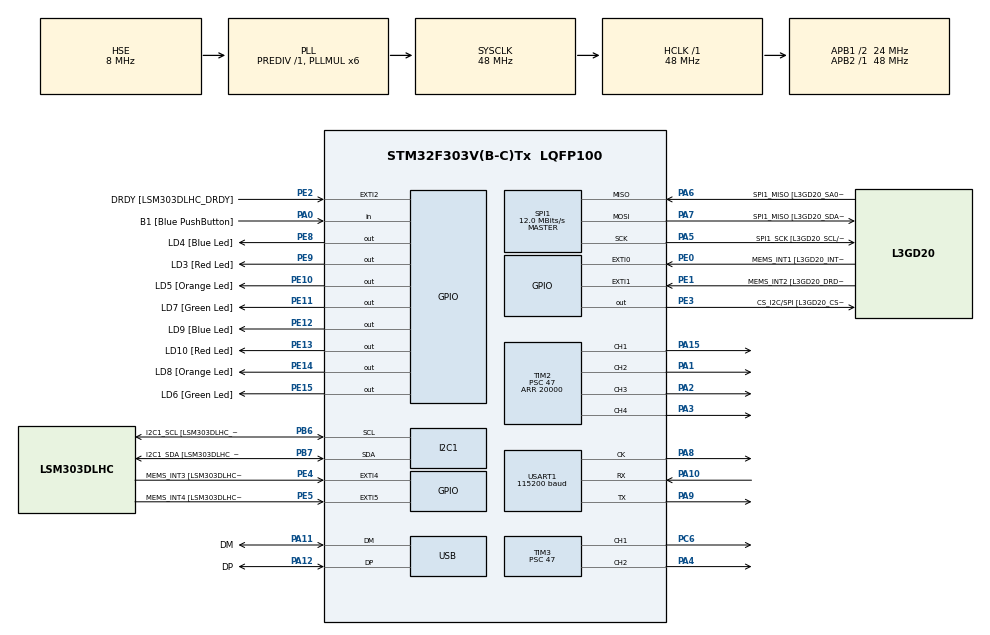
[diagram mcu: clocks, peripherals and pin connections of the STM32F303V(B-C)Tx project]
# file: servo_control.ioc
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I2C1.Timing=0x2000090E
I2C1.Timing-I2C=0x2000090E
Mcu.Family=STM32F3
Mcu.Name=STM32F303V(B-C)Tx
Mcu.Package=LQFP100
NVIC.PriorityGroup=NVIC_PRIORITYGROUP_0
NVIC.USART1_IRQn=true\:0\:0\:false\:false\:true\:true\:true\:true
PA0.GPIO_Label=B1 [Blue PushButton]
PA0.Signal=GPIO_Input
PA1.Signal=S_TIM2_CH2
PA10.Mode=Synchronous
PA10.Signal=USART1_RX
PA11.GPIO_Label=DM
PA11.Mode=Device
PA11.Signal=USB_DM
PA12.GPIO_Label=DP
PA12.Mode=Device
PA12.Signal=USB_DP
PA13.GPIO_Label=SWDIO
PA13.Mode=Serial_Wire
PA13.Signal=SYS_JTMS-SWDIO
PA14.GPIO_Label=SWCLK
PA14.Mode=Serial_Wire
PA14.Signal=SYS_JTCK-SWCLK
PA15.Signal=S_TIM2_CH1_ETR
PA2.Signal=S_TIM2_CH3
PA3.Signal=S_TIM2_CH4
PA4.Signal=S_TIM3_CH2
PA5.GPIO_Label=SPI1_SCK [L3GD20_SCL/SPC]
PA5.Mode=Full_Duplex_Master
PA5.Signal=SPI1_SCK
PA6.GPIO_Label=SPI1_MISO [L3GD20_SA0/SDO]
PA6.Mode=Full_Duplex_Master
PA6.Signal=SPI1_MISO
PA7.GPIO_Label=SPI1_MISO [L3GD20_SDA/SDI/SDO]
PA7.Mode=Full_Duplex_Master
PA7.Signal=SPI1_MOSI
PA8.Mode=Synchronous
PA8.Signal=USART1_CK
PA9.Mode=Synchronous
PA9.Signal=USART1_TX
PB3.GPIO_Label=SWO
PB3.Signal=SYS_JTDO-TRACESWO
PB6.GPIO_Label=I2C1_SCL [LSM303DLHC_SCL]
PB6.GPIO_Pu=GPIO_PULLUP
PB6.Mode=I2C
PB6.Signal=I2C1_SCL
PB7.GPIO_Label=I2C1_SDA [LSM303DLHC_SDA]
PB7.GPIO_Pu=GPIO_PULLUP
PB7.Mode=I2C
PB7.Signal=I2C1_SDA
PC14-OSC32_IN.GPIO_Label=OSC32_IN
PC14-OSC32_IN.Signal=RCC_OSC32_IN
PC15-OSC32_OUT.GPIO_Label=OSC32_OUT
PC15-OSC32_OUT.Signal=RCC_OSC32_OUT
PC6.Signal=S_TIM3_CH1
PE0.GPIO_Label=MEMS_INT1 [L3GD20_INT1]
PE0.GPIO_ModeDefaultEXTI=GPIO_MODE_EVT_RISING
PE0.Signal=GPXTI0
PE1.GPIO_Label=MEMS_INT2 [L3GD20_DRDY/INT2]
PE1.GPIO_ModeDefaultEXTI=GPIO_MODE_EVT_RISING
PE1.Signal=GPXTI1
PE10.GPIO_Label=LD5 [Orange Led]
PE10.Signal=GPIO_Output
PE11.GPIO_Label=LD7 [Green Led]
PE11.Signal=GPIO_Output
PE12.GPIO_Label=LD9 [Blue Led]
PE12.Signal=GPIO_Output
PE13.GPIO_Label=LD10 [Red Led]
PE13.Signal=GPIO_Output
PE14.GPIO_Label=LD8 [Orange Led]
PE14.Signal=GPIO_Output
PE15.GPIO_Label=LD6 [Green Led]
PE15.Signal=GPIO_Output
PE2.GPIO_Label=DRDY [LSM303DLHC_DRDY]
PE2.GPIO_ModeDefaultEXTI=GPIO_MODE_EVT_RISING
PE2.Signal=GPXTI2
PE3.GPIO_Label=CS_I2C/SPI [L3GD20_CS_I2C/SPI]
PE3.Signal=GPIO_Output
PE4.GPIO_Label=MEMS_INT3 [LSM303DLHC_INT1]
PE4.GPIO_ModeDefaultEXTI=GPIO_MODE_EVT_RISING
PE4.Signal=GPXTI4
PE5.GPIO_Label=MEMS_INT4 [LSM303DLHC_INT2]
PE5.GPIO_ModeDefaultEXTI=GPIO_MODE_EVT_RISING
PE5.Signal=GPXTI5
PE8.GPIO_Label=LD4 [Blue Led]
PE8.Signal=GPIO_Output
PE9.GPIO_Label=LD3 [Red Led]
PE9.Signal=GPIO_Output
PF0-OSC_IN.GPIO_Label=OSC_IN
PF0-OSC_IN.Mode=HSE-External-Clock-Source
PF0-OSC_IN.Signal=RCC_OSC_IN
PF1-OSC_OUT.GPIO_Label=OSC_OUT
PF1-OSC_OUT.Signal=RCC_OSC_OUT
ProjectManager.HeapSize=0x200
ProjectManager.StackSize=0x400
ProjectManager.TargetToolchain=STM32CubeIDE
RCC.AHBFreq_Value=48000000
RCC.APB1CLKDivider=RCC_HCLK_DIV2
RCC.APB1Freq_Value=24000000
RCC.APB1TimFreq_Value=48000000
RCC.APB2Freq_Value=48000000
RCC.APB2TimFreq_Value=48000000
RCC.CortexFreq_Value=48000000
RCC.HCLKFreq_Value=48000000
RCC.HSE_VALUE=8000000
RCC.HSI_VALUE=8000000
RCC.LSE_VALUE=32768
RCC.PLLMUL=RCC_PLL_MUL6
RCC.SYSCLKFreq_VALUE=48000000
RCC.SYSCLKSourceVirtual=RCC_SYSCLKSOURCE_PLLCLK
RCC.USBFreq_Value=48000000
SH.S_TIM2_CH1_ETR.0=TIM2_CH1,PWM Generation1 CH1
SH.S_TIM2_CH2.0=TIM2_CH2,PWM Generation2 CH2
SH.S_TIM2_CH3.0=TIM2_CH3,PWM Generation3 CH3
SH.S_TIM2_CH4.0=TIM2_CH4,PWM Generation4 CH4
SH.S_TIM3_CH1.0=TIM3_CH1,PWM Generation1 CH1
SH.S_TIM3_CH2.0=TIM3_CH2,PWM Generation2 CH2
SPI1.BaudRatePrescaler=SPI_BAUDRATEPRESCALER_4
SPI1.BaudRatePrescaler-Full_Duplex_Master=SPI_BAUDRATEPRESCALER_2
SPI1.CalculateBaudRate=12.0 MBits/s
SPI1.CalculateBaudRate-Full_Duplex_Master=24.0 MBits/s
SPI1.Direction=SPI_DIRECTION_2LINES
SPI1.Mode=SPI_MODE_MASTER
SPI1.Mode-Full_Duplex_Master=SPI_MODE_MASTER
SPI1.VirtualType=VM_MASTER
TIM2.Channel-PWM\ Generation1\ CH1=TIM_CHANNEL_1
TIM2.Channel-PWM\ Generation2\ CH2=TIM_CHANNEL_2
TIM2.Channel-PWM\ Generation3\ CH3=TIM_CHANNEL_3
TIM2.Channel-PWM\ Generation4\ CH4=TIM_CHANNEL_4
TIM2.Period=20000
TIM2.Prescaler=47
TIM2.Pulse-PWM\ Generation1\ CH1=0
TIM3.Channel-PWM\ Generation1\ CH1=TIM_CHANNEL_1
TIM3.Channel-PWM\ Generation2\ CH2=TIM_CHANNEL_2
TIM3.Period=20000
TIM3.Prescaler=47
USART1.BaudRate=115200
USART1.VirtualMode-Synchronous=VM_SYNC
board=STM32F3DISCOVERY

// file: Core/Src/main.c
/* USER CODE BEGIN Header */
/**
  ******************************************************************************
  * @file           : main.c
  * @brief          : Main program body
  ******************************************************************************
  * @attention
  *
  * Copyright (c) 2024 STMicroelectronics.
  * All rights reserved.
  *
  * This software is licensed under terms that can be found in the LICENSE file
  * in the root directory of this software component.
  * If no LICENSE file comes with this software, it is provided AS-IS.
  *
  ******************************************************************************
  */
/* USER CODE END Header */
#include "main.h"

/* USER CODE BEGIN Includes */
#include "servo.h"
#include "timer.h"

/* USER CODE END Includes */

I2C_HandleTypeDef hi2c1;

SPI_HandleTypeDef hspi1;

TIM_HandleTypeDef htim2;
TIM_HandleTypeDef htim3;

USART_HandleTypeDef husart1;

PCD_HandleTypeDef hpcd_USB_FS;

void SystemClock_Config(void);
static void MX_GPIO_Init(void);
static void MX_I2C1_Init(void);
static void MX_SPI1_Init(void);
static void MX_USB_PCD_Init(void);
static void MX_TIM2_Init(void);
static void MX_USART1_Init(void);
static void MX_TIM3_Init(void);

int main(void)
{

  /* MCU Configuration--------------------------------------------------------*/

  /* Reset of all peripherals, Initializes the Flash interface and the Systick. */
  HAL_Init();

  /* Configure the system clock */
  SystemClock_Config();

  /* Initialize all configured peripherals */
  MX_GPIO_Init();
  MX_I2C1_Init();
  MX_SPI1_Init();
  MX_USB_PCD_Init();
  MX_TIM2_Init();
  MX_USART1_Init();
  MX_TIM3_Init();
  /* USER CODE BEGIN 2 */

  // start the timers
  HAL_TIM_PWM_Start(&htim2, TIM_CHANNEL_1);
  HAL_TIM_PWM_Start(&htim2, TIM_CHANNEL_2);
  HAL_TIM_PWM_Start(&htim3, TIM_CHANNEL_1);
  HAL_TIM_PWM_Start(&htim3, TIM_CHANNEL_2);
//  HAL_TIM_PWM_Start(&htim2, TIM_CHANNEL_3);
//  HAL_TIM_PWM_Start(&htim2, TIM_CHANNEL_4);

  // initialise the PID controller
//  initPIDController(&Servo1, &PIDVelocityController1);

  /* USER CODE END 2 */

  /* Infinite loop */
  /* USER CODE BEGIN WHILE */

  while (1)
  {
	  if ((GPIOA->IDR & 0x01) == 1) {
//
//		  setTargetVelocity(&Servo1, 1000);
//
		  servoGoToFractionalPosition(&Servo1, 0);
		  servoGoToFractionalPosition(&Servo2, 1-0);
		  servoGoToFractionalPosition(&Servo3, 0);
		  servoGoToFractionalPosition(&Servo4, 1-0);

//		  // wait until button is released
		  while ((GPIOA->IDR & 0x01)) {};
	  }
	  else {
//
		  servoGoToFractionalPosition(&Servo1, 1);
		  servoGoToFractionalPosition(&Servo2, 1-1);
		  servoGoToFractionalPosition(&Servo3, 1);
		  servoGoToFractionalPosition(&Servo4, 1-1);

//		  setTargetVelocity(&Servo1, -1);
	  }

    /* USER CODE END WHILE */

  }
}

void SystemClock_Config(void)
{
  RCC_OscInitTypeDef RCC_OscInitStruct = {0};
  RCC_ClkInitTypeDef RCC_ClkInitStruct = {0};
  RCC_PeriphCLKInitTypeDef PeriphClkInit = {0};

  /** Initializes the RCC Oscillators according to the specified parameters
  * in the RCC_OscInitTypeDef structure.
  */
  RCC_OscInitStruct.OscillatorType = RCC_OSCILLATORTYPE_HSI|RCC_OSCILLATORTYPE_HSE;
  RCC_OscInitStruct.HSEState = RCC_HSE_BYPASS;
  RCC_OscInitStruct.HSEPredivValue = RCC_HSE_PREDIV_DIV1;
  RCC_OscInitStruct.HSIState = RCC_HSI_ON;
  RCC_OscInitStruct.HSICalibrationValue = RCC_HSICALIBRATION_DEFAULT;
  RCC_OscInitStruct.PLL.PLLState = RCC_PLL_ON;
  RCC_OscInitStruct.PLL.PLLSource = RCC_PLLSOURCE_HSE;
  RCC_OscInitStruct.PLL.PLLMUL = RCC_PLL_MUL6;
  if (HAL_RCC_OscConfig(&RCC_OscInitStruct) != HAL_OK)
  {
    Error_Handler();
  }

  /** Initializes the CPU, AHB and APB buses clocks
  */
  RCC_ClkInitStruct.ClockType = RCC_CLOCKTYPE_HCLK|RCC_CLOCKTYPE_SYSCLK
                              |RCC_CLOCKTYPE_PCLK1|RCC_CLOCKTYPE_PCLK2;
  RCC_ClkInitStruct.SYSCLKSource = RCC_SYSCLKSOURCE_PLLCLK;
  RCC_ClkInitStruct.AHBCLKDivider = RCC_SYSCLK_DIV1;
  RCC_ClkInitStruct.APB1CLKDivider = RCC_HCLK_DIV2;
  RCC_ClkInitStruct.APB2CLKDivider = RCC_HCLK_DIV1;

  if (HAL_RCC_ClockConfig(&RCC_ClkInitStruct, FLASH_LATENCY_1) != HAL_OK)
  {
    Error_Handler();
  }
  PeriphClkInit.PeriphClockSelection = RCC_PERIPHCLK_USB|RCC_PERIPHCLK_USART1
                              |RCC_PERIPHCLK_I2C1;
  PeriphClkInit.Usart1ClockSelection = RCC_USART1CLKSOURCE_PCLK2;
  PeriphClkInit.I2c1ClockSelection = RCC_I2C1CLKSOURCE_HSI;
  PeriphClkInit.USBClockSelection = RCC_USBCLKSOURCE_PLL;
  if (HAL_RCCEx_PeriphCLKConfig(&PeriphClkInit) != HAL_OK)
  {
    Error_Handler();
  }
}

static void MX_I2C1_Init(void)
{

  hi2c1.Instance = I2C1;
  hi2c1.Init.Timing = 0x2000090E;
  hi2c1.Init.OwnAddress1 = 0;
  hi2c1.Init.AddressingMode = I2C_ADDRESSINGMODE_7BIT;
  hi2c1.Init.DualAddressMode = I2C_DUALADDRESS_DISABLE;
  hi2c1.Init.OwnAddress2 = 0;
  hi2c1.Init.OwnAddress2Masks = I2C_OA2_NOMASK;
  hi2c1.Init.GeneralCallMode = I2C_GENERALCALL_DISABLE;
  hi2c1.Init.NoStretchMode = I2C_NOSTRETCH_DISABLE;
  if (HAL_I2C_Init(&hi2c1) != HAL_OK)
  {
    Error_Handler();
  }

  /** Configure Analogue filter
  */
  if (HAL_I2CEx_ConfigAnalogFilter(&hi2c1, I2C_ANALOGFILTER_ENABLE) != HAL_OK)
  {
    Error_Handler();
  }

  /** Configure Digital filter
  */
  if (HAL_I2CEx_ConfigDigitalFilter(&hi2c1, 0) != HAL_OK)
  {
    Error_Handler();
  }

}

static void MX_SPI1_Init(void)
{

  /* SPI1 parameter configuration*/
  hspi1.Instance = SPI1;
  hspi1.Init.Mode = SPI_MODE_MASTER;
  hspi1.Init.Direction = SPI_DIRECTION_2LINES;
  hspi1.Init.DataSize = SPI_DATASIZE_4BIT;
  hspi1.Init.CLKPolarity = SPI_POLARITY_LOW;
  hspi1.Init.CLKPhase = SPI_PHASE_1EDGE;
  hspi1.Init.NSS = SPI_NSS_SOFT;
  hspi1.Init.BaudRatePrescaler = SPI_BAUDRATEPRESCALER_4;
  hspi1.Init.FirstBit = SPI_FIRSTBIT_MSB;
  hspi1.Init.TIMode = SPI_TIMODE_DISABLE;
  hspi1.Init.CRCCalculation = SPI_CRCCALCULATION_DISABLE;
  hspi1.Init.CRCPolynomial = 7;
  hspi1.Init.CRCLength = SPI_CRC_LENGTH_DATASIZE;
  hspi1.Init.NSSPMode = SPI_NSS_PULSE_ENABLE;
  if (HAL_SPI_Init(&hspi1) != HAL_OK)
  {
    Error_Handler();
  }

}

static void MX_TIM2_Init(void)
{

  TIM_MasterConfigTypeDef sMasterConfig = {0};
  TIM_OC_InitTypeDef sConfigOC = {0};

  htim2.Instance = TIM2;
  htim2.Init.Prescaler = 47;
  htim2.Init.CounterMode = TIM_COUNTERMODE_UP;
  htim2.Init.Period = 20000;
  htim2.Init.ClockDivision = TIM_CLOCKDIVISION_DIV1;
  htim2.Init.AutoReloadPreload = TIM_AUTORELOAD_PRELOAD_DISABLE;
  if (HAL_TIM_PWM_Init(&htim2) != HAL_OK)
  {
    Error_Handler();
  }
  sMasterConfig.MasterOutputTrigger = TIM_TRGO_RESET;
  sMasterConfig.MasterSlaveMode = TIM_MASTERSLAVEMODE_DISABLE;
  if (HAL_TIMEx_MasterConfigSynchronization(&htim2, &sMasterConfig) != HAL_OK)
  {
    Error_Handler();
  }
  sConfigOC.OCMode = TIM_OCMODE_PWM1;
  sConfigOC.Pulse = 0;
  sConfigOC.OCPolarity = TIM_OCPOLARITY_HIGH;
  sConfigOC.OCFastMode = TIM_OCFAST_DISABLE;
  if (HAL_TIM_PWM_ConfigChannel(&htim2, &sConfigOC, TIM_CHANNEL_1) != HAL_OK)
  {
    Error_Handler();
  }
  if (HAL_TIM_PWM_ConfigChannel(&htim2, &sConfigOC, TIM_CHANNEL_2) != HAL_OK)
  {
    Error_Handler();
  }
  if (HAL_TIM_PWM_ConfigChannel(&htim2, &sConfigOC, TIM_CHANNEL_3) != HAL_OK)
  {
    Error_Handler();
  }
  if (HAL_TIM_PWM_ConfigChannel(&htim2, &sConfigOC, TIM_CHANNEL_4) != HAL_OK)
  {
    Error_Handler();
  }
  HAL_TIM_MspPostInit(&htim2);

}

static void MX_TIM3_Init(void)
{

  TIM_MasterConfigTypeDef sMasterConfig = {0};
  TIM_OC_InitTypeDef sConfigOC = {0};

  htim3.Instance = TIM3;
  htim3.Init.Prescaler = 47;
  htim3.Init.CounterMode = TIM_COUNTERMODE_UP;
  htim3.Init.Period = 20000;
  htim3.Init.ClockDivision = TIM_CLOCKDIVISION_DIV1;
  htim3.Init.AutoReloadPreload = TIM_AUTORELOAD_PRELOAD_DISABLE;
  if (HAL_TIM_PWM_Init(&htim3) != HAL_OK)
  {
    Error_Handler();
  }
  sMasterConfig.MasterOutputTrigger = TIM_TRGO_RESET;
  sMasterConfig.MasterSlaveMode = TIM_MASTERSLAVEMODE_DISABLE;
  if (HAL_TIMEx_MasterConfigSynchronization(&htim3, &sMasterConfig) != HAL_OK)
  {
    Error_Handler();
  }
  sConfigOC.OCMode = TIM_OCMODE_PWM1;
  sConfigOC.Pulse = 0;
  sConfigOC.OCPolarity = TIM_OCPOLARITY_HIGH;
  sConfigOC.OCFastMode = TIM_OCFAST_DISABLE;
  if (HAL_TIM_PWM_ConfigChannel(&htim3, &sConfigOC, TIM_CHANNEL_1) != HAL_OK)
  {
    Error_Handler();
  }
  if (HAL_TIM_PWM_ConfigChannel(&htim3, &sConfigOC, TIM_CHANNEL_2) != HAL_OK)
  {
    Error_Handler();
  }
  HAL_TIM_MspPostInit(&htim3);

}

static void MX_USART1_Init(void)
{

  husart1.Instance = USART1;
  husart1.Init.BaudRate = 115200;
  husart1.Init.WordLength = USART_WORDLENGTH_8B;
  husart1.Init.StopBits = USART_STOPBITS_1;
  husart1.Init.Parity = USART_PARITY_NONE;
  husart1.Init.Mode = USART_MODE_TX_RX;
  husart1.Init.CLKPolarity = USART_POLARITY_LOW;
  husart1.Init.CLKPhase = USART_PHASE_1EDGE;
  husart1.Init.CLKLastBit = USART_LASTBIT_DISABLE;
  if (HAL_USART_Init(&husart1) != HAL_OK)
  {
    Error_Handler();
  }

}

static void MX_USB_PCD_Init(void)
{

  hpcd_USB_FS.Instance = USB;
  hpcd_USB_FS.Init.dev_endpoints = 8;
  hpcd_USB_FS.Init.speed = PCD_SPEED_FULL;
  hpcd_USB_FS.Init.phy_itface = PCD_PHY_EMBEDDED;
  hpcd_USB_FS.Init.low_power_enable = DISABLE;
  hpcd_USB_FS.Init.battery_charging_enable = DISABLE;
  if (HAL_PCD_Init(&hpcd_USB_FS) != HAL_OK)
  {
    Error_Handler();
  }

}

static void MX_GPIO_Init(void)
{
  GPIO_InitTypeDef GPIO_InitStruct = {0};

  /* GPIO Ports Clock Enable */
  __HAL_RCC_GPIOE_CLK_ENABLE();
  __HAL_RCC_GPIOC_CLK_ENABLE();
  __HAL_RCC_GPIOF_CLK_ENABLE();
  __HAL_RCC_GPIOA_CLK_ENABLE();
  __HAL_RCC_GPIOB_CLK_ENABLE();

  /*Configure GPIO pin Output Level */
  HAL_GPIO_WritePin(GPIOE, CS_I2C_SPI_Pin|LD4_Pin|LD3_Pin|LD5_Pin
                          |LD7_Pin|LD9_Pin|LD10_Pin|LD8_Pin
                          |LD6_Pin, GPIO_PIN_RESET);

  /*Configure GPIO pins : DRDY_Pin MEMS_INT3_Pin MEMS_INT4_Pin MEMS_INT1_Pin
                           MEMS_INT2_Pin */
  GPIO_InitStruct.Pin = DRDY_Pin|MEMS_INT3_Pin|MEMS_INT4_Pin|MEMS_INT1_Pin
                          |MEMS_INT2_Pin;
  GPIO_InitStruct.Mode = GPIO_MODE_EVT_RISING;
  GPIO_InitStruct.Pull = GPIO_NOPULL;
  HAL_GPIO_Init(GPIOE, &GPIO_InitStruct);

  /*Configure GPIO pins : CS_I2C_SPI_Pin LD4_Pin LD3_Pin LD5_Pin
                           LD7_Pin LD9_Pin LD10_Pin LD8_Pin
                           LD6_Pin */
  GPIO_InitStruct.Pin = CS_I2C_SPI_Pin|LD4_Pin|LD3_Pin|LD5_Pin
                          |LD7_Pin|LD9_Pin|LD10_Pin|LD8_Pin
                          |LD6_Pin;
  GPIO_InitStruct.Mode = GPIO_MODE_OUTPUT_PP;
  GPIO_InitStruct.Pull = GPIO_NOPULL;
  GPIO_InitStruct.Speed = GPIO_SPEED_FREQ_LOW;
  HAL_GPIO_Init(GPIOE, &GPIO_InitStruct);

  /*Configure GPIO pin : B1_Pin */
  GPIO_InitStruct.Pin = B1_Pin;
  GPIO_InitStruct.Mode = GPIO_MODE_INPUT;
  GPIO_InitStruct.Pull = GPIO_NOPULL;
  HAL_GPIO_Init(B1_GPIO_Port, &GPIO_InitStruct);

}

void Error_Handler(void)
{
  __disable_irq();
  while (1)
  {
  }
}
